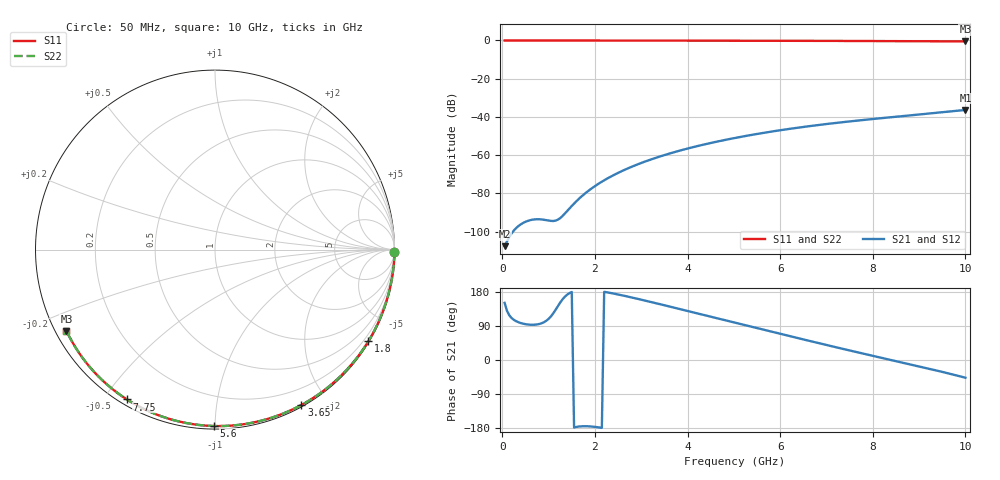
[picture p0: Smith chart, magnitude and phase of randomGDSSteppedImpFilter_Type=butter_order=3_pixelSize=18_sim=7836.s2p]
! freq	dB(S11)	phase(S11)	dB(S12)	phase(S12)
!  dB(S21)	phase(S21)	dB(S22)	phase(S22)
!S-par simulation data
#  GHz  S  DB  R 50
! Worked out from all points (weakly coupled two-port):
!   200 points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, 50 MHz to 10 GHz, reference 50 ohm
!   highest |S21| = -36.31 dB at 10 GHz (marker M1); lowest = -107.5 dB at 50 MHz (marker M2)
!   lowest |S11| = -0.5 dB at 10 GHz (marker M3), VSWR 34.36, Z = 1.55 - j12.8 ohm
!   |S11| at or under -10 dB: nowhere
!   |S22| runs from -0.5 to 0.0 dB; largest |S21 - S12| = 0
!   S11 on the Smith chart (normalised r, x): 50 MHz: open; 1.8 GHz: 0.03, -3.63; 3.65 GHz: 0.02, -1.70; 5.6 GHz: 0.02, -0.99; 7.75 GHz: 0.02, -0.57; 10 GHz: 0.03, -0.26
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0.05  -0.00 -0.9  -107.53 150.9  -107.53 150.9  -0.00 -0.9
0.45  -0.01 -7.8  -95.38 95.8  -95.38 95.8  -0.01 -7.8
0.9  -0.02 -15.6  -93.72 99.7  -93.72 99.7  -0.02 -15.6
1.3  -0.03 -22.4  -91.78 159.9  -91.78 159.9  -0.03 -22.4
1.75  -0.04 -30.0  -80.73 -174.7  -80.73 -174.7  -0.04 -30.0
1.8  -0.04 -30.8  -79.72 -174.7  -79.72 -174.7  -0.04 -30.8
1.95  -0.04 -33.3  -76.98 -175.8  -76.98 -175.8  -0.04 -33.3
2.1  -0.05 -35.8  -74.57 -178.1  -74.57 -178.1  -0.05 -35.8
2.3  -0.05 -39.2  -71.73 177.8  -71.73 177.8  -0.05 -39.2
2.5  -0.05 -42.4  -69.23 172.9  -69.23 172.9  -0.05 -42.4
2.9  -0.06 -49.0  -64.98 162.0  -64.98 162.0  -0.06 -49.0
3.4  -0.08 -57.0  -60.68 147.4  -60.68 147.4  -0.08 -57.0
3.65  -0.08 -60.9  -58.83 140.0  -58.83 140.0  -0.08 -60.9
4.3  -0.10 -71.0  -54.71 120.4  -54.71 120.4  -0.10 -71.0
5.05  -0.13 -82.3  -50.85 97.8  -50.85 97.8  -0.13 -82.3
5.6  -0.15 -90.3  -48.47 81.2  -48.47 81.2  -0.15 -90.3
6.15  -0.18 -98.2  -46.39 64.7  -46.39 64.7  -0.18 -98.2
6.7  -0.21 -106.0  -44.58 48.4  -44.58 48.4  -0.21 -106.0
7.75  -0.28 -120.5  -41.68 18.0  -41.68 18.0  -0.28 -120.5
8.35  -0.33 -128.7  -40.23 1.2  -40.23 1.2  -0.33 -128.7
9.2  -0.41 -140.3  -38.24 -22.6  -38.24 -22.6  -0.41 -140.2
10  -0.51 -151.3  -36.31 -46.8  -36.31 -46.8  -0.51 -151.3
